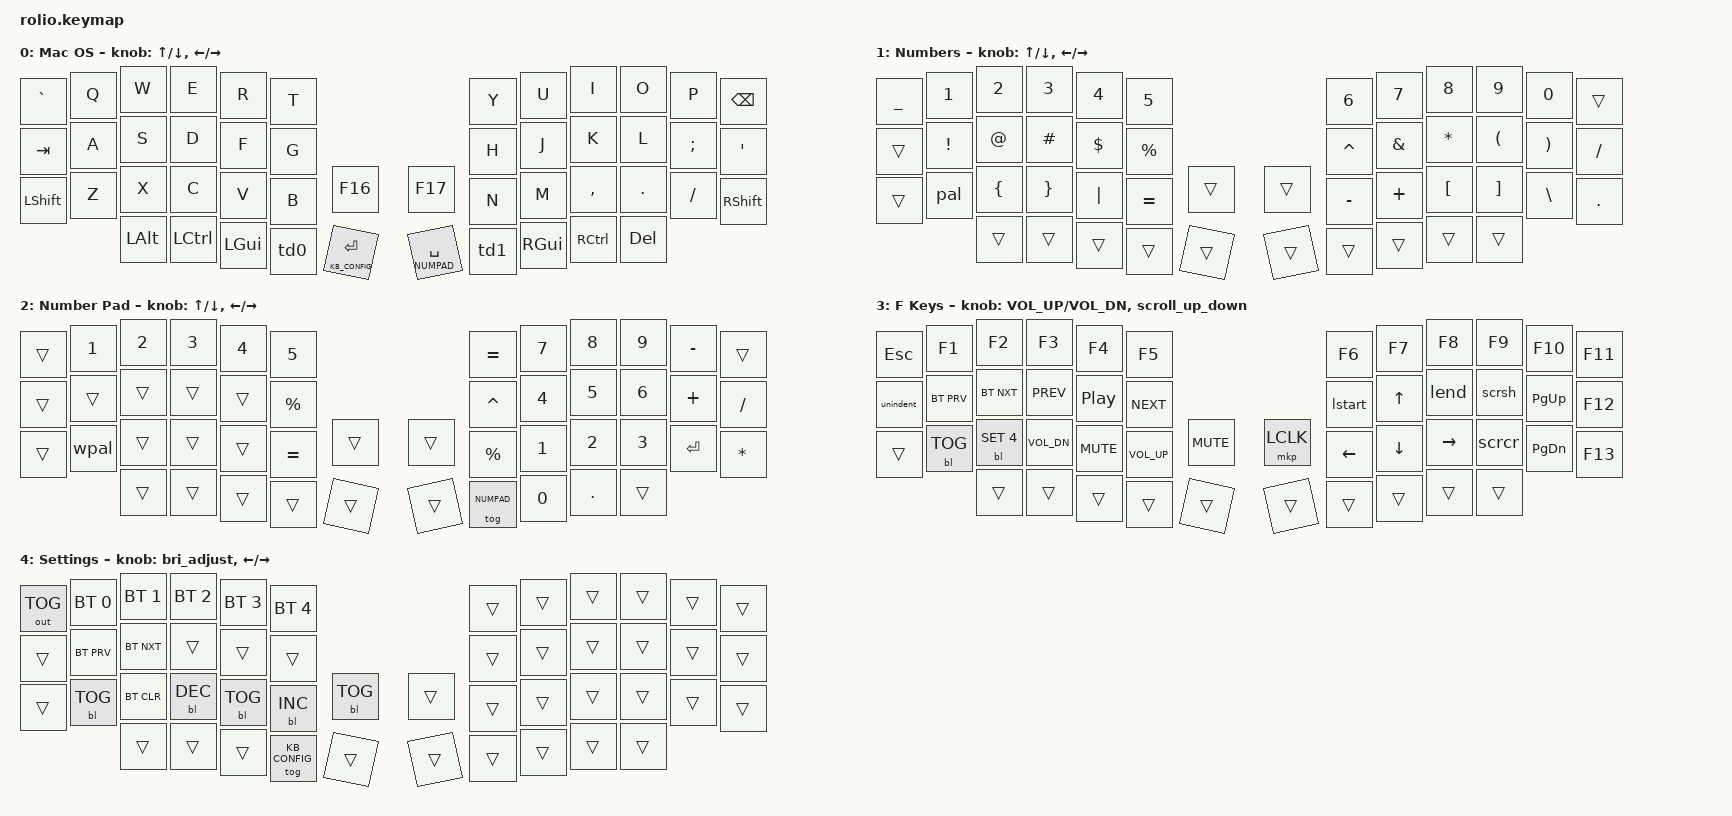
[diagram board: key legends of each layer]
/*
 * Copyright (c) 2023 The ZMK Contributors
 *
 * SPDX-License-Identifier: MIT
 */

#include <behaviors.dtsi>
#include <dt-bindings/zmk/keys.h>
#include <dt-bindings/zmk/bt.h>
#include <dt-bindings/zmk/outputs.h>
#include <dt-bindings/zmk/backlight.h>
#include <dt-bindings/zmk/pointing.h>

#define ZMK_POINTING_DEFAULT_SCRL_VAL 100

#define MACOS     0
#define NUMBERS   1
#define NUMPAD    2
#define FKEYS     3
#define KB_CONFIG 4


/ {

    behaviors {
        // Toggle F-Keys Layer
        td0: Toggle_FKeys {
            compatible = "zmk,behavior-tap-dance";
            #binding-cells = <0>;
            tapping-term-ms = <300>;
            bindings = <&mo FKEYS>, <&tog FKEYS>, <&tog KB_CONFIG>;
        };
        // Toggle Numbers layer
        td1: Toggle_Numpad {
            compatible = "zmk,behavior-tap-dance";
            #binding-cells = <0>;
            tapping-term-ms = <300>;
            bindings = <&mo NUMBERS>, <&tog NUMPAD>, <&tog NUMBERS>;
        };
        //Backlight Brightness
        bri_adjust: bri_adjust {
            compatible = "zmk,behavior-sensor-rotate";
            #sensor-binding-cells = <0>;
            bindings = <&bl BL_INC>, <&bl BL_DEC>;
        };
        // Encoder to Mouse Scroll
        scroll_up_down: scroll_up_down {
            compatible = "zmk,behavior-sensor-rotate";
            #sensor-binding-cells = <0>;
            bindings = <&msc SCRL_UP>, <&msc SCRL_DOWN>;
            tap-ms = <20>;
        };

    };


    macros {
        unindent: Unindent {
            compatible = "zmk,behavior-macro";
            #binding-cells = <0>;
            bindings
                = <&macro_press &kp LSHIFT>
                , <&macro_tap &kp TAB>
                , <&macro_release &kp LSHIFT>
                ;
        };
        lstart: MacOS_Start_Of_Line {
            compatible = "zmk,behavior-macro";
            #binding-cells = <0>;
            bindings
                = <&macro_press &kp LGUI>
                , <&macro_tap &kp LEFT>
                , <&macro_release &kp LGUI>
                ;
        };
        lend: MacOS_End_Of_Line {
            compatible = "zmk,behavior-macro";
            #binding-cells = <0>;
            bindings
                = <&macro_press &kp LGUI>
                , <&macro_tap &kp RIGHT>
                , <&macro_release &kp LGUI>
                ;
        };
        scrsh: MacOS_Screenshot {
            compatible = "zmk,behavior-macro";
            #binding-cells = <0>;
            bindings
                = <&macro_press &kp LGUI>
                , <&macro_press &kp LSHIFT>
                , <&macro_tap &kp N3>
                , <&macro_release &kp LSHFT>
                , <&macro_release &kp LGUI>
                ;
        };
        scrcr: MacOS_Screenshot_Cropped {
            compatible = "zmk,behavior-macro";
            #binding-cells = <0>;
            bindings
                = <&macro_press &kp LGUI>
                , <&macro_press &kp LSHIFT>
                , <&macro_tap &kp N4>
                , <&macro_release &kp LSHFT>
                , <&macro_release &kp LGUI>
                ;
        };
        wscrcr: Windows_Screenshot_Cropped {
            compatible = "zmk,behavior-macro";
            #binding-cells = <0>;
            bindings
                = <&macro_press &kp LGUI>
                , <&macro_press &kp LSHIFT>
                , <&macro_tap &kp S>
                , <&macro_release &kp LSHFT>
                , <&macro_release &kp LGUI>
                ;
        };
        pal: MacOS_Emojis {
            compatible = "zmk,behavior-macro";
            #binding-cells = <0>;
            bindings
                = <&macro_press &kp LGUI>
                , <&macro_press &kp LCTRL>
                , <&macro_tap &kp SPACE>
                , <&macro_release &kp LCTRL>
                , <&macro_release &kp LGUI>
                ;
        };
        wpal: Windows_Emojis {
            compatible = "zmk,behavior-macro";
            #binding-cells = <0>;
            bindings
                = <&macro_press &kp LGUI>
                , <&macro_tap &kp DOT>
                , <&macro_release &kp LGUI>
                ;
        };

    };


    keymap {
        compatible = "zmk,keymap";

        default_layer {
            display-name = "Mac OS";
            sensor-bindings = <&inc_dec_kp UP DOWN &inc_dec_kp LEFT RIGHT>;
            bindings = <
//---------------------------------------------------------------+                                        +---------------------------------------------------------------//
//          |         |          |           |          |        |                                        |       |       |           |         |          |           // 
  &kp GRAVE   &kp Q     &kp W      &kp E        &kp R     &kp T                                             &kp Y   &kp U     &kp I      &kp O     &kp P      &kp BSPC
//          |         |          |           |          |        |                                        |       |       |           |         |          |           //
  &kp TAB     &kp A     &kp S      &kp D        &kp F     &kp G                                             &kp H   &kp J     &kp K      &kp L    &kp SEMI    &kp SQT
//          |         |          |           |          |        +--------------------+ +-----------------|       |       |           |         |          |           //
  &kp LSHIFT  &kp Z     &kp X      &kp C        &kp V     &kp B     &kp F16                  &kp F17        &kp N   &kp M   &kp COMMA   &kp DOT    &kp FSLH   &kp RSHIFT
//--------------------|          |           |          |        |                    | |                 |       |       |           |--------------------------------//  
                        &kp LALT   &kp LCTRL     &kp LGUI     &td0     &lt KB_CONFIG ENTER   &lt NUMPAD SPACE   &td1   &kp RGUI    &kp RCTRL   &kp DEL
//                    +----------|-----------|----------|-----------------------------+  +-----------------|-------|--------|-----------|---------+                      //
            >;
        };

        numbers_layer {
            display-name = "Numbers";
            sensor-bindings = <&inc_dec_kp UP DOWN &inc_dec_kp LEFT RIGHT>;
            bindings = <
//-------------------------------------------------------------------------------+                      +----------------------------------------------------------------------------//
//          |          |                |                 |          |           |                      |           |               |          |          |               |          // 
  &kp UNDER    &kp N1        &kp N2           &kp N3         &kp N4     &kp N5                             &kp N6        &kp N7        &kp N8     &kp N9       &kp N0        &trans
//          |          |                |                 |          |           |                      |           |               |          |          |               |          // 
    &trans    &kp EXCL       &kp AT          &kp HASH       &kp DLLR   &kp PRCNT                          &kp CARET   &kp AMPERSAND   &kp STAR   &kp LPAR     &kp RPAR      &kp FSLH
//          |          |                |                 |          |           +--------+     +-------|           |               |                     |               |          // 
   &trans       &pal     &kp LEFT_BRACE   &kp RIGHT_BRACE   &kp PIPE   &kp EQUAL   &trans        &trans   &kp MINUS     &kp PLUS      &kp LBKT   &kp RBKT   &kp BACKSLASH   &kp DOT
//---------------------|                |                 |          |           |        |    |                    |               |          |          |--------------------------//
                            &trans            &trans         &trans     &trans     &trans        &trans    &trans       &trans         &trans     &trans
//                     +----------------|-----------------|----------|-----------|--------+    +--------|----------|----------------|----------|----------+                          //
            >;
        };


        numpad_layer {
            display-name = "Number Pad";
            sensor-bindings = <&inc_dec_kp UP DOWN &inc_dec_kp LEFT RIGHT>;
            bindings = <
//-----------------------------------------------------------------+                        +----------------------------------------------------------------------------//
//          |          |          |          |          |          |                        |           |               |          |          |               |          // 
    &trans     &kp N1     &kp N2     &kp N3     &kp N4     &kp N5                             &kp EQUAL      &kp N7        &kp N8     &kp N9     &kp MINUS      &trans
//          |          |          |          |          |          |                        |           |               |          |          |               |          // 
    &trans     &trans     &trans     &trans     &trans    &kp PRCNT                           &kp CARET      &kp N4        &kp N5     &kp N6     &kp PLUS      &kp FSLH
//          |          |          |          |          |          +--------+     +---------|           |               |          |          |               |          // 
    &trans     &wpal      &trans     &trans     &trans    &kp EQUAL  &trans         &trans    &kp PRCNT      &kp N1        &kp N2     &kp N3     &kp ENTER     &kp STAR
//---------------------|          |          |          |          |        |     |         |           |               |          |          |--------------------------//
                          &trans     &trans     &trans     &trans    &trans         &trans   &tog NUMPAD     &kp N0        &kp DOT    &trans
//                     +----------|----------|----------|----------|--------+     +---------|-----------|---------------|----------|----------+                          //
            >;
      };


        f_keys_layer {
            display-name = "F Keys";
            sensor-bindings = <&inc_dec_kp C_VOL_UP C_VOL_DN &scroll_up_down>;
            bindings = <
//-------------------------------------------------------------------------------+                           +-------------------------------------------------------------------//
//          |            |            |              |            |              |                           |          |          |           |         |           |           // 
  &kp ESCAPE    &kp F1      &kp F2       &kp F3          &kp F4        &kp F5                                   &kp F6    &kp F7      &kp F8     &kp F9    &kp F10     &kp F11
//          |            |            |              |            |              |                           |          |          |           |         |           |           // 
  &unindent   &bt BT_PRV   &bt BT_NXT   &kp C_PREV     &kp C_PP     &kp C_NEXT                                 &lstart     &kp UP     &lend      &scrsh    &kp PG_UP   &kp F12
//          |            |            |              |            |              +-------------+    +--------+          |          |           |         |           |           // 
    &trans    &bl BL_TOG  &bl BL_SET 4  &kp C_VOL_DN   &kp C_MUTE   &kp C_VOL_UP    &kp C_MUTE     &mkp LCLK   &kp LEFT   &kp DOWN   &kp RIGHT   &scrcr    &kp PG_DN   &kp F13
//-----------------------|            |              |            |              |             |    |        |          |          |           |         |-----------------------//  
                            &trans         &trans       &trans        &trans        &trans            &trans    &trans    &trans      &trans     &trans
//                       +------------|--------------|------------|--------------|-------------+    +--------|----------|----------|-----------|---------+                       //
            >;

        };


      settings_layer {
            display-name = "Settings";
            sensor-bindings = <&bri_adjust &inc_dec_kp LEFT RIGHT>;
            bindings = <
//---------------------------------------------------------------------------------------+                        +------------------------------------------------------------------//
//          |              |              |              |              |                |                        |          |          |          |          |          |           // 
 &out OUT_TOG &bt BT_SEL 0   &bt BT_SEL 1   &bt BT_SEL 2   &bt BT_SEL 3    &bt BT_SEL 4                              &trans     &trans     &trans     &trans     &trans     &trans
//          |              |              |              |              |                |                        |          |          |          |          |          |           // 
    &trans     &bt BT_PRV     &bt BT_NXT       &trans         &trans         &trans                                  &trans     &trans     &trans     &trans     &trans     &trans
//          |              |              |              |              |                +--------+     +---------|          |          |          |          |          |           // 
    &trans     &bl BL_TOG       &bt BT_CLR     &bl BL_DEC    &bl BL_TOG      &bl BL_INC    &bl BL_TOG       &trans     &trans     &trans     &trans     &trans     &trans     &trans
//-------------------------|              |              |              |                |        |     |         |          |          |          |          |----------------------//
                               &trans          &trans         &trans      &tog KB_CONFIG   &trans         &trans     &trans     &trans     &trans     &trans
//                         +--------------|--------------|--------------|----------------|--------+     +----------|---------|----------|----------|----------+                      //
            >;
        };

        // Extra layers for ZMK Studio
        extra1 {
            status = "reserved";
        };
        extra2 {
            status = "reserved";
        };
        extra3 {
            status = "reserved";
        };

    };

};
